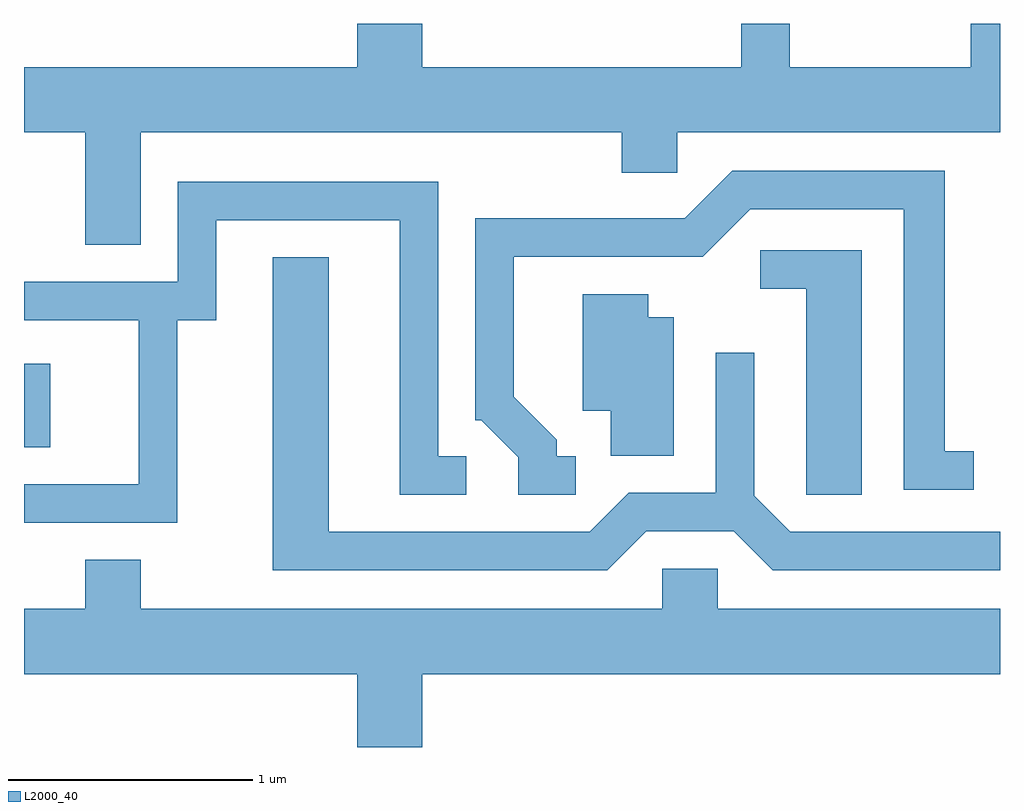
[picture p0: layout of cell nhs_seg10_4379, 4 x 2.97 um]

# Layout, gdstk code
import gdstk
lib = gdstk.Library(unit=1e-6, precision=1e-09)
def R(c, l, rs):  # rectangles x0, y0, x1, y1
    for r in rs: c.add(gdstk.rectangle(r[:2], r[2:], *l))
def P(c, l, *ps):  # polygons
    for p in ps: c.add(gdstk.Polygon(p, *l))
L2000_40 = (2000, 40)

nhs_seg10_4379 = lib.new_cell('nhs_seg10_4379')
R(nhs_seg10_4379, L2000_40, [(313.611,2174.786,313.719,2175.129)])
P(nhs_seg10_4379, L2000_40, [(314.089,2176.076),(316.061,2176.076),(316.061,2175.911),(316.289,2175.911),(316.289,2176.076),(317.611,2176.076),(317.611,2176.522),(317.491,2176.522),(317.491,2176.344),(316.749,2176.344),(316.749,2176.522),(316.551,2176.522),(316.551,2176.344),(315.244,2176.344),(315.244,2176.522),(314.976,2176.522),(314.976,2176.344),(313.611,2176.344),(313.611,2176.076),(313.861,2176.076),(313.861,2175.616),(314.089,2175.616)],
  [(315.873,2174.749),(315.794,2174.749),(315.794,2174.817),(315.619,2174.992),(315.619,2175.566),(316.392,2175.566),(316.587,2175.761),(317.216,2175.761),(317.216,2174.611),(317.503,2174.611),(317.503,2174.769),(317.384,2174.769),(317.384,2175.919),(316.514,2175.919),(316.319,2175.724),(315.461,2175.724),(315.461,2174.896),(315.484,2174.896),(315.636,2174.744),(315.636,2174.591),(315.873,2174.591)],
  [(314.239,2175.306),(314.399,2175.306),(314.399,2175.716),(315.151,2175.716),(315.151,2174.591),(315.423,2174.591),(315.423,2174.749),(315.309,2174.749),(315.309,2175.874),(314.241,2175.874),(314.241,2175.464),(313.611,2175.464),(313.611,2175.306),(314.081,2175.306),(314.081,2174.634),(313.611,2174.634),(313.611,2174.476),(314.239,2174.476)],
  [(317.044,2175.594),(316.628,2175.594),(316.628,2175.436),(316.816,2175.436),(316.816,2174.591),(317.044,2174.591)],
  [(316.162,2174.441),(316.519,2174.441),(316.679,2174.281),(317.611,2174.281),(317.611,2174.439),(316.752,2174.439),(316.604,2174.587),(316.604,2175.173),(316.446,2175.173),(316.446,2174.599),(316.089,2174.599),(315.929,2174.439),(314.859,2174.439),(314.859,2175.564),(314.631,2175.564),(314.631,2174.281),(316.002,2174.281)],
  [(316.274,2175.319),(316.169,2175.319),(316.169,2175.414),(315.901,2175.414),(315.901,2174.936),(316.016,2174.936),(316.016,2174.751),(316.274,2174.751)],
  [(315.244,2173.856),(317.611,2173.856),(317.611,2174.124),(316.454,2174.124),(316.454,2174.289),(316.226,2174.289),(316.226,2174.124),(314.089,2174.124),(314.089,2174.324),(313.861,2174.324),(313.861,2174.124),(313.611,2174.124),(313.611,2173.856),(314.976,2173.856),(314.976,2173.556),(315.244,2173.556)])

lib.write_gds('nhs_seg10_4379.gds')
